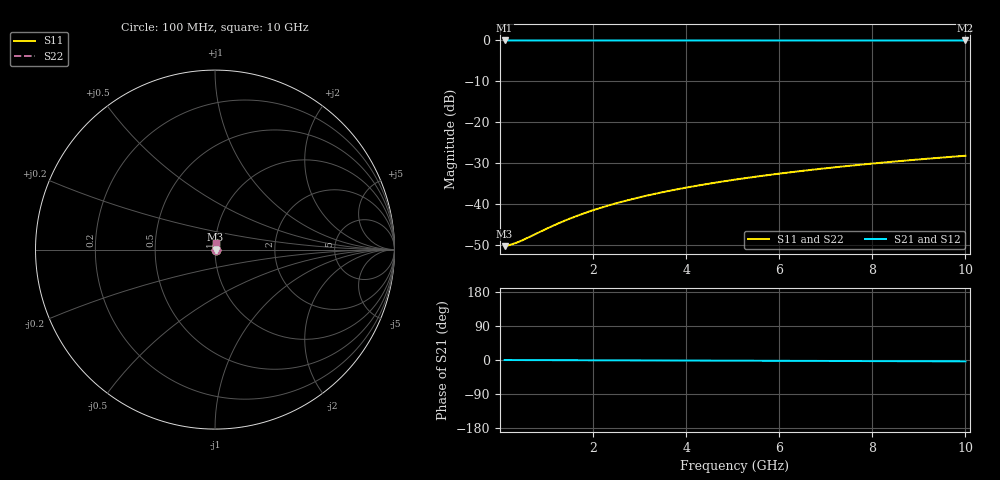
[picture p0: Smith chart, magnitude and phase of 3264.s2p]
# Hz S RI R 50.00
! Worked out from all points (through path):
!   100 points, 100 MHz to 10 GHz, reference 50 ohm
!   highest |S21| = -0.03 dB at 100 MHz (marker M1); lowest = 0.0 dB at 10 GHz (marker M2)
!   lowest |S11| = -50.3 dB at 100 MHz (marker M3), VSWR 1.01, Z = 50.3 + j0.0387 ohm
!   |S11| at or under -10 dB: start of sweep to end of sweep
!   |S22| runs from -50.3 to -28.2 dB; largest |S21 - S12| = 0
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1e8  0.00301 0.000385  0.997 -0.000629  0.997 -0.000629  0.00301 0.000385
2e8  0.00303 0.00077  0.997 -0.00126  0.997 -0.00126  0.00303 0.00077
3e8  0.00305 0.00115  0.9969 -0.00189  0.9969 -0.00189  0.00305 0.00115
4e8  0.00306 0.00154  0.9969 -0.00251  0.9969 -0.00251  0.00306 0.00154
6e8  0.00309 0.00231  0.9969 -0.00377  0.9969 -0.00377  0.00309 0.00231
1e9  0.00313 0.00385  0.9969 -0.00628  0.9969 -0.00628  0.00313 0.00385
1.2e9  0.00315 0.00462  0.9968 -0.00754  0.9968 -0.00754  0.00315 0.00462
1.5e9  0.00319 0.00577  0.9968 -0.00943  0.9968 -0.00943  0.00319 0.00577
1.8e9  0.00322 0.00692  0.9968 -0.0113  0.9968 -0.0113  0.00322 0.00692
2.1e9  0.00326 0.00808  0.9967 -0.0132  0.9967 -0.0132  0.00326 0.00808
2.5e9  0.00332 0.00962  0.9967 -0.0157  0.9967 -0.0157  0.00332 0.00962
2.9e9  0.00339 0.0112  0.9966 -0.0182  0.9966 -0.0182  0.00339 0.0112
3.4e9  0.00348 0.0131  0.9965 -0.0214  0.9965 -0.0214  0.00348 0.0131
3.8e9  0.00356 0.0146  0.9964 -0.0239  0.9964 -0.0239  0.00356 0.0146
4.2e9  0.00365 0.0161  0.9963 -0.0264  0.9963 -0.0264  0.00365 0.0161
4.6e9  0.00374 0.0177  0.9962 -0.0289  0.9962 -0.0289  0.00374 0.0177
5.1e9  0.00387 0.0196  0.996 -0.032  0.996 -0.032  0.00387 0.0196
5.9e9  0.0041 0.0227  0.9958 -0.0371  0.9958 -0.0371  0.0041 0.0227
6.7e9  0.00437 0.0257  0.9955 -0.0421  0.9955 -0.0421  0.00437 0.0257
7.5e9  0.00466 0.0288  0.9952 -0.0471  0.9952 -0.0471  0.00466 0.0288
8.4e9  0.00502 0.0322  0.9947 -0.0527  0.9947 -0.0527  0.00502 0.0322
1e10  0.00577 0.0384  0.9939 -0.0628  0.9939 -0.0628  0.00577 0.0384
